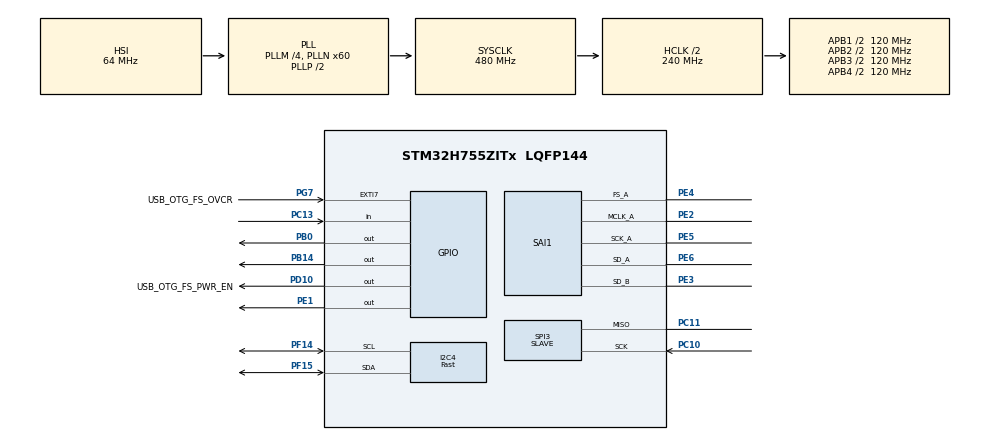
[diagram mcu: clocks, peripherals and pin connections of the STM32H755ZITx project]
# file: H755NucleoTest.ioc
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CortexM4.IPs=FATFS_M4\:I,FREERTOS_M4\:I,IWDG2\:I,RCC,WWDG2\:I,DMA,BDMA,MDMA,NVIC2\:I,ETH,USART3,DEBUG,PDM2PCM_M4\:I,PWR,RESMGR_UTILITY,SYS_M4\:I,USB_DEVICE_M4\:I,USB_HOST_M4\:I,CORTEX_M4\:I,GPIO,OPENAMP_M4\:I,VREFBUF,NUCLEO-H755ZI-Q
CortexM7.IPs=FATFS_M7\:I,FREERTOS_M7\:I,IWDG1\:I,RCC\:I,WWDG1\:I,DMA\:I,BDMA\:I,MDMA\:I,NVIC1\:I,ETH\:I,USART3\:I,USB_OTG_FS\:I,SYS\:I,CORTEX_M7\:I,DEBUG\:I,PDM2PCM_M7\:I,PWR\:I,RESMGR_UTILITY\:I,USB_DEVICE_M7\:I,USB_HOST_M7\:I,GPIO\:I,OPENAMP_M7\:I,VREFBUF\:I,NUCLEO-H755ZI-Q\:I,MEMORYMAP\:I,I2C4\:I,SPI3\:I,SAI1\:I
I2C4.I2C_Speed_Mode=I2C_Fast
I2C4.OwnAddress=32
I2C4.Timing=0x00B03FDB
Mcu.Family=STM32H7
Mcu.Name=STM32H755ZITx
Mcu.Package=LQFP144
NUCLEO-H755ZI-Q.BUTTON=1
NUCLEO-H755ZI-Q.LD1=true
NUCLEO-H755ZI-Q.LD2=true
NUCLEO-H755ZI-Q.LD3=true
NUCLEO-H755ZI-Q.VCP=true
NVIC1.EXTI15_10_IRQn=true\:0\:0\:false\:false\:true\:false\:true\:true
NVIC1.I2C4_ER_IRQn=true\:0\:0\:false\:false\:true\:true\:true\:true
NVIC1.I2C4_EV_IRQn=true\:0\:0\:false\:false\:true\:true\:true\:true
NVIC1.PriorityGroup=NVIC_PRIORITYGROUP_4
NVIC1.SPI3_IRQn=true\:0\:0\:false\:false\:true\:true\:true\:true
NVIC2.PriorityGroup=NVIC_PRIORITYGROUP_4
PA1.PinAttribute=CortexM7
PA1.Signal=ETH_REF_CLK
PA11.PinAttribute=CortexM7
PA11.Signal=USB_OTG_FS_DM
PA12.PinAttribute=CortexM7
PA12.Signal=USB_OTG_FS_DP
PA2.PinAttribute=CortexM7
PA2.Signal=ETH_MDIO
PA7.PinAttribute=CortexM7
PA7.Signal=ETH_CRS_DV
PA8.PinAttribute=CortexM7
PA8.Signal=USB_OTG_FS_SOF
PA9.PinAttribute=CortexM7
PA9.Signal=USB_OTG_FS_VBUS
PB0.Signal=GPIO_Output
PB13.PinAttribute=CortexM7
PB13.Signal=ETH_TXD1
PB14.Signal=GPIO_Output
PB8.PinAttribute=CortexM7
PB8.Signal=I2C1_SCL
PB9.PinAttribute=CortexM7
PB9.Signal=I2C1_SDA
PC1.PinAttribute=CortexM7
PC1.Signal=ETH_MDC
PC10.Mode=Simplex_Bidirectional_Slave
PC10.PinAttribute=CortexM7
PC10.Signal=SPI3_SCK
PC11.Mode=Simplex_Bidirectional_Slave
PC11.PinAttribute=CortexM7
PC11.Signal=SPI3_MISO
PC13.Signal=GPIO_Input
PC14-OSC32_IN\ (OSC32_IN).PinAttribute=Free
PC14-OSC32_IN\ (OSC32_IN).Signal=RCC_OSC32_IN
PC15-OSC32_OUT\ (OSC32_OUT).PinAttribute=Free
PC15-OSC32_OUT\ (OSC32_OUT).Signal=RCC_OSC32_OUT
PC4.PinAttribute=CortexM7
PC4.Signal=ETH_RXD0
PC5.PinAttribute=CortexM7
PC5.Signal=ETH_RXD1
PD10.GPIO_Label=USB_OTG_FS_PWR_EN
PD10.PinAttribute=Free
PD10.Signal=GPIO_Output
PD8.Signal=USART3_TX
PD9.Signal=USART3_RX
PE1.Signal=GPIO_Output
PE2.Mode=SAI_A_MasterWithClock
PE2.PinAttribute=CortexM7
PE2.Signal=SAI1_MCLK_A
PE3.Mode=SAI_B_SyncSlave
PE3.PinAttribute=CortexM7
PE3.Signal=SAI1_SD_B
PE4.Mode=SAI_A_MasterWithClock
PE4.PinAttribute=CortexM7
PE4.Signal=SAI1_FS_A
PE5.Mode=SAI_A_MasterWithClock
PE5.PinAttribute=CortexM7
PE5.Signal=SAI1_SCK_A
PE6.Mode=SAI_A_MasterWithClock
PE6.PinAttribute=CortexM7
PE6.Signal=SAI1_SD_A
PF14.GPIO_Pu=GPIO_PULLUP
PF14.GPIO_Speed=GPIO_SPEED_FREQ_VERY_HIGH
PF14.Mode=I2C
PF14.PinAttribute=CortexM7
PF14.Signal=I2C4_SCL
PF15.GPIO_Pu=GPIO_PULLUP
PF15.GPIO_Speed=GPIO_SPEED_FREQ_VERY_HIGH
PF15.Mode=I2C
PF15.PinAttribute=CortexM7
PF15.Signal=I2C4_SDA
PG11.PinAttribute=CortexM7
PG11.Signal=ETH_TX_EN
PG13.PinAttribute=CortexM7
PG13.Signal=ETH_TXD0
PG7.GPIO_Label=USB_OTG_FS_OVCR
PG7.PinAttribute=Free
PG7.Signal=GPXTI7
PH0-OSC_IN\ (PH0).PinAttribute=Free
PH0-OSC_IN\ (PH0).Signal=RCC_OSC_IN
PH1-OSC_OUT\ (PH1).PinAttribute=Free
PH1-OSC_OUT\ (PH1).Signal=RCC_OSC_OUT
ProjectManager.HeapSize=M4-0x200,M7-0x200
ProjectManager.StackSize=M4-0x400,M7-0x400
ProjectManager.TargetToolchain=STM32CubeIDE
RCC.ADCFreq_Value=12285714.285714285
RCC.APB1Freq_Value=120000000
RCC.APB2Freq_Value=120000000
RCC.APB3Freq_Value=120000000
RCC.APB4Freq_Value=120000000
RCC.CortexFreq_Value=480000000
RCC.D1PPRE=RCC_APB3_DIV2
RCC.D2PPRE1=RCC_APB1_DIV2
RCC.D2PPRE2=RCC_APB2_DIV2
RCC.D3PPRE=RCC_APB4_DIV2
RCC.DIVM1=4
RCC.DIVN1=60
RCC.DIVN3=128
RCC.DIVP2=21
RCC.DIVQ1=8
RCC.DIVR3=8
RCC.HCLKFreq_Value=240000000
RCC.HPRE=RCC_HCLK_DIV2
RCC.I2C123CLockSelection=RCC_I2C123CLKSOURCE_PLL3
RCC.PLL2FRACN=0
RCC.PLL3FRACN=0
RCC.PLLFRACN=0
RCC.SAI1CLockSelection=RCC_SAI1CLKSOURCE_PLL2
RCC.SYSCLKFreq_VALUE=480000000
RCC.SYSCLKSource=RCC_SYSCLKSOURCE_PLLCLK
RCC.SupplySource=PWR_LDO_SUPPLY
RCC.USBFreq_Value=120000000
SAI1.ErrorAudioFreq-SAI_A_MasterWithClock=-75.0 %
SAI1.Instance-SAI_A_MasterWithClock=SAI$Index_Block_A
SAI1.Instance-SAI_B_SyncSlave=SAI$Index_Block_B
SAI1.MClockEnable-SAI_A_MasterWithClock=SAI_MASTERCLOCK_ENABLE
SAI1.RealAudioFreq-SAI_A_MasterWithClock=47.991 KHz
SAI1.VirtualMode-SAI_A_MasterWithClock=VM_MASTER
SAI1.VirtualMode-SAI_B_SyncSlave=VM_SLAVE
SPI3.Direction=SPI_DIRECTION_1LINE
SPI3.Mode=SPI_MODE_SLAVE
SPI3.VirtualType=VM_SLAVE
VP_MEMORYMAP_VS_MEMORYMAP.Mode=CurAppReg
VP_NUCLEO-H755ZI-Q_VS_BSP_COMMON.Mode=COMMON
VP_SYS_M4_VS_Systick.Mode=SysTick
board=NUCLEO-H755ZI-Q

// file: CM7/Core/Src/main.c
/* USER CODE BEGIN Header */
/**
  ******************************************************************************
  * @file           : main.c
  * @brief          : Main program body
  ******************************************************************************
  * @attention
  *
  * Copyright (c) 2025 STMicroelectronics.
  * All rights reserved.
  *
  * This software is licensed under terms that can be found in the LICENSE file
  * in the root directory of this software component.
  * If no LICENSE file comes with this software, it is provided AS-IS.
  *
  ******************************************************************************
  */
/* USER CODE END Header */
#include "main.h"

/* USER CODE BEGIN PD */

#ifndef HSEM_ID_0
#define HSEM_ID_0 (0U) /* HW semaphore 0*/
#endif

/* USER CODE END PD */

COM_InitTypeDef BspCOMInit;

I2C_HandleTypeDef hi2c4;

SAI_HandleTypeDef hsai_BlockA1;
SAI_HandleTypeDef hsai_BlockB1;

SPI_HandleTypeDef hspi3;

/* USER CODE BEGIN PV */
uint8_t rx_buffer[4];
uint8_t RX_Buffer[3];
uint8_t tx_buffer[] = {100, 200, 35, 100};
/* USER CODE END PV */

void SystemClock_Config(void);
void PeriphCommonClock_Config(void);
static void MX_GPIO_Init(void);
static void MX_I2C4_Init(void);
static void MX_SPI3_Init(void);
static void MX_SAI1_Init(void);

/* USER CODE BEGIN 0 */

// I2C event callback
//void HAL_I2C_ListenCpltCallback(I2C_HandleTypeDef *hi2c)
//{
//    HAL_I2C_EnableListen_IT(hi2c);  // Re-enable listening mode
//}
//
//void HAL_I2C_AddrCallback(I2C_HandleTypeDef *hi2c, uint8_t TransferDirection, uint16_t AddrMatchCode)
//{
//    if(TransferDirection == I2C_DIRECTION_TRANSMIT)  // Master is writing to slave
//    {
//        HAL_I2C_Slave_Receive_IT(hi2c, rx_buffer, sizeof(rx_buffer));
//    }
//    else  // Master is reading from slave
//    {
//        HAL_I2C_Slave_Transmit_IT(hi2c, tx_buffer, sizeof(tx_buffer));
//    }
//}
//
//void HAL_I2C_ErrorCallback(I2C_HandleTypeDef *hi2c)
//{
//	HAL_I2C_EnableListen_IT(hi2c);
//}
//
//void HAL_I2C_SlaveTxCpltCallback(I2C_HandleTypeDef *hi2c)
//{
//    HAL_I2C_EnableListen_IT(hi2c);  // Only re-enable listening mode
//}
//
//void HAL_I2C_SlaveRxCpltCallback(I2C_HandleTypeDef *hi2c)
//{
//    HAL_I2C_EnableListen_IT(hi2c);  // Only re-enable listening mode
//}

//void HAL_I2C_SlaveTxCpltCallback(I2C_HandleTypeDef *hi2c)
//{
//    if (hi2c->Instance == I2C4)
//    {
//        HAL_I2C_Slave_Transmit_IT(&hi2c4, tx_buffer, sizeof(tx_buffer)); // Restart transmission
//    }
//
//    HAL_I2C_EnableListen_IT(hi2c);  // Re-enable listening mode
//}
//
//void HAL_I2C_SlaveRxCpltCallback(I2C_HandleTypeDef *hi2c)
//{
//    if (hi2c->Instance == I2C4)
//    {
//        HAL_I2C_Slave_Receive_IT(&hi2c4, tx_buffer, sizeof(tx_buffer)); // Restart transmission
//    }
//
//    HAL_I2C_EnableListen_IT(hi2c);  // Re-enable listening mode
////
////    printf("received\n");
////    uint8_t i;
////
////    for (i = 0; i < 6; ++i) {
////    	printf("%d", rx_buffer[i]);
////    }
////
////    printf("\n");
//
//
//}

void HAL_I2C_ListenCpltCallback(I2C_HandleTypeDef *hi2c)
{
    printf("Listen Complete\n");
    HAL_I2C_EnableListen_IT(hi2c);  // Re-enable listening mode
}

void HAL_I2C_AddrCallback(I2C_HandleTypeDef *hi2c,
                          uint8_t TransferDirection,
                          uint16_t AddrMatchCode)
{
    if (hi2c->Instance == I2C4) // or match your slave address
    {
        if (TransferDirection == I2C_DIRECTION_TRANSMIT)
        {
            // Master is writing data to us
            // Prepare to receive. E.g.:
            HAL_I2C_Slave_Seq_Receive_IT(hi2c, rx_buffer, 4,
                                         I2C_NEXT_FRAME);
        }
        else // I2C_DIRECTION_RECEIVE
        {
            // Master is reading from us
            // Prepare to transmit. E.g.:
            HAL_I2C_Slave_Seq_Transmit_IT(hi2c, tx_buffer, 4,
                                          I2C_NEXT_FRAME);
        }
//    	if(TransferDirection == I2C_DIRECTION_TRANSMIT)  // Master is writing to slave
//    	    {
//    	        HAL_I2C_Slave_Receive_IT(hi2c, rx_buffer, sizeof(rx_buffer));
//    	    }
//    	    else  // Master is reading from slave
//    	    {
//    	        HAL_I2C_Slave_Transmit_IT(hi2c, tx_buffer, sizeof(tx_buffer));
//    	    }
    }
}
void HAL_I2C_SlaveTxCpltCallback(I2C_HandleTypeDef *hi2c)
{
    printf("Tx Complete\n");
    HAL_I2C_EnableListen_IT(hi2c);
}

void HAL_I2C_SlaveRxCpltCallback(I2C_HandleTypeDef *hi2c)
{
    printf("Rx Complete\n");

    for (int i = 0; i < 4; ++i) {
        	printf("%d, ", rx_buffer[i]);
        }

        printf("\n");

    HAL_I2C_EnableListen_IT(hi2c);

}

// Also handle error:
void HAL_I2C_ErrorCallback(I2C_HandleTypeDef *hi2c)
{
//    printf("error\n");
    // Optionally inspect hi2c->ErrorCode for details
	  printf("I2C ErrorCallback: ErrorCode = 0x%lX\r\n", hi2c->ErrorCode);
	// Clear errors or re-init as needed
    HAL_I2C_EnableListen_IT(hi2c);
}
/* USER CODE END 0 */

int main(void)
{

/* USER CODE BEGIN Boot_Mode_Sequence_0 */
  int32_t timeout;
/* USER CODE END Boot_Mode_Sequence_0 */

/* USER CODE BEGIN Boot_Mode_Sequence_1 */
  /* Wait until CPU2 boots and enters in stop mode or timeout*/
//  timeout = 0xFFFF;
//  while((__HAL_RCC_GET_FLAG(RCC_FLAG_D2CKRDY) != RESET) && (timeout-- > 0));
//  if ( timeout < 0 )
//  {
//  Error_Handler();
//  }
/* USER CODE END Boot_Mode_Sequence_1 */
  /* MCU Configuration--------------------------------------------------------*/

  /* Reset of all peripherals, Initializes the Flash interface and the Systick. */
  HAL_Init();

  /* Configure the system clock */
  SystemClock_Config();

  /* Configure the peripherals common clocks */
  PeriphCommonClock_Config();
/* USER CODE BEGIN Boot_Mode_Sequence_2 */
/* When system initialization is finished, Cortex-M7 will release Cortex-M4 by means of
HSEM notification */
/*HW semaphore Clock enable*/
__HAL_RCC_HSEM_CLK_ENABLE();
/*Take HSEM */
HAL_HSEM_FastTake(HSEM_ID_0);
/*Release HSEM in order to notify the CPU2(CM4)*/
HAL_HSEM_Release(HSEM_ID_0,0);
/* wait until CPU2 wakes up from stop mode */
timeout = 0xFFFF;
while((__HAL_RCC_GET_FLAG(RCC_FLAG_D2CKRDY) == RESET) && (timeout-- > 0));
if ( timeout < 0 )
{
Error_Handler();
}
/* USER CODE END Boot_Mode_Sequence_2 */

  /* Initialize all configured peripherals */
  MX_GPIO_Init();
  MX_I2C4_Init();
  MX_SPI3_Init();
  MX_SAI1_Init();
  /* USER CODE BEGIN 2 */
//  HAL_I2C_Slave_Receive_IT(&hi2c4 ,(uint8_t *)RX_Buffer, 1); //Receiving in Interrupt mode
  /* USER CODE END 2 */

  /* Initialize leds */
  BSP_LED_Init(LED_GREEN);
  BSP_LED_Init(LED_YELLOW);
  BSP_LED_Init(LED_RED);

  /* Initialize USER push-button, will be used to trigger an interrupt each time it's pressed.*/
  BSP_PB_Init(BUTTON_USER, BUTTON_MODE_EXTI);

  /* Initialize COM1 port (115200, 8 bits (7-bit data + 1 stop bit), no parity */
  BspCOMInit.BaudRate   = 115200;
  BspCOMInit.WordLength = COM_WORDLENGTH_8B;
  BspCOMInit.StopBits   = COM_STOPBITS_1;
  BspCOMInit.Parity     = COM_PARITY_NONE;
  BspCOMInit.HwFlowCtl  = COM_HWCONTROL_NONE;
  if (BSP_COM_Init(COM1, &BspCOMInit) != BSP_ERROR_NONE)
  {
    Error_Handler();
  }

  /* Infinite loop */
  while (1)
  {

  }
}

void SystemClock_Config(void)
{
  RCC_OscInitTypeDef RCC_OscInitStruct = {0};
  RCC_ClkInitTypeDef RCC_ClkInitStruct = {0};

  /** Supply configuration update enable
  */
  HAL_PWREx_ConfigSupply(PWR_LDO_SUPPLY);

  /** Configure the main internal regulator output voltage
  */
  __HAL_PWR_VOLTAGESCALING_CONFIG(PWR_REGULATOR_VOLTAGE_SCALE0);

  while(!__HAL_PWR_GET_FLAG(PWR_FLAG_VOSRDY)) {}

  /** Initializes the RCC Oscillators according to the specified parameters
  * in the RCC_OscInitTypeDef structure.
  */
  RCC_OscInitStruct.OscillatorType = RCC_OSCILLATORTYPE_HSI;
  RCC_OscInitStruct.HSIState = RCC_HSI_DIV1;
  RCC_OscInitStruct.HSICalibrationValue = RCC_HSICALIBRATION_DEFAULT;
  RCC_OscInitStruct.PLL.PLLState = RCC_PLL_ON;
  RCC_OscInitStruct.PLL.PLLSource = RCC_PLLSOURCE_HSI;
  RCC_OscInitStruct.PLL.PLLM = 4;
  RCC_OscInitStruct.PLL.PLLN = 60;
  RCC_OscInitStruct.PLL.PLLP = 2;
  RCC_OscInitStruct.PLL.PLLQ = 8;
  RCC_OscInitStruct.PLL.PLLR = 2;
  RCC_OscInitStruct.PLL.PLLRGE = RCC_PLL1VCIRANGE_3;
  RCC_OscInitStruct.PLL.PLLVCOSEL = RCC_PLL1VCOWIDE;
  RCC_OscInitStruct.PLL.PLLFRACN = 0;
  if (HAL_RCC_OscConfig(&RCC_OscInitStruct) != HAL_OK)
  {
    Error_Handler();
  }

  /** Initializes the CPU, AHB and APB buses clocks
  */
  RCC_ClkInitStruct.ClockType = RCC_CLOCKTYPE_HCLK|RCC_CLOCKTYPE_SYSCLK
                              |RCC_CLOCKTYPE_PCLK1|RCC_CLOCKTYPE_PCLK2
                              |RCC_CLOCKTYPE_D3PCLK1|RCC_CLOCKTYPE_D1PCLK1;
  RCC_ClkInitStruct.SYSCLKSource = RCC_SYSCLKSOURCE_PLLCLK;
  RCC_ClkInitStruct.SYSCLKDivider = RCC_SYSCLK_DIV1;
  RCC_ClkInitStruct.AHBCLKDivider = RCC_HCLK_DIV2;
  RCC_ClkInitStruct.APB3CLKDivider = RCC_APB3_DIV2;
  RCC_ClkInitStruct.APB1CLKDivider = RCC_APB1_DIV2;
  RCC_ClkInitStruct.APB2CLKDivider = RCC_APB2_DIV2;
  RCC_ClkInitStruct.APB4CLKDivider = RCC_APB4_DIV2;

  if (HAL_RCC_ClockConfig(&RCC_ClkInitStruct, FLASH_LATENCY_4) != HAL_OK)
  {
    Error_Handler();
  }
}

void PeriphCommonClock_Config(void)
{
  RCC_PeriphCLKInitTypeDef PeriphClkInitStruct = {0};

  /** Initializes the peripherals clock
  */
  PeriphClkInitStruct.PeriphClockSelection = RCC_PERIPHCLK_SAI1;
  PeriphClkInitStruct.PLL2.PLL2M = 32;
  PeriphClkInitStruct.PLL2.PLL2N = 129;
  PeriphClkInitStruct.PLL2.PLL2P = 21;
  PeriphClkInitStruct.PLL2.PLL2Q = 2;
  PeriphClkInitStruct.PLL2.PLL2R = 2;
  PeriphClkInitStruct.PLL2.PLL2RGE = RCC_PLL2VCIRANGE_1;
  PeriphClkInitStruct.PLL2.PLL2VCOSEL = RCC_PLL2VCOWIDE;
  PeriphClkInitStruct.PLL2.PLL2FRACN = 0;
  PeriphClkInitStruct.Sai1ClockSelection = RCC_SAI1CLKSOURCE_PLL2;
  if (HAL_RCCEx_PeriphCLKConfig(&PeriphClkInitStruct) != HAL_OK)
  {
    Error_Handler();
  }
}

static void MX_I2C4_Init(void)
{

  hi2c4.Instance = I2C4;
  hi2c4.Init.Timing = 0x00B03FDB;
  hi2c4.Init.OwnAddress1 = 64;
  hi2c4.Init.AddressingMode = I2C_ADDRESSINGMODE_7BIT;
  hi2c4.Init.DualAddressMode = I2C_DUALADDRESS_DISABLE;
  hi2c4.Init.OwnAddress2 = 0;
  hi2c4.Init.OwnAddress2Masks = I2C_OA2_NOMASK;
  hi2c4.Init.GeneralCallMode = I2C_GENERALCALL_DISABLE;
  hi2c4.Init.NoStretchMode = I2C_NOSTRETCH_DISABLE;
  if (HAL_I2C_Init(&hi2c4) != HAL_OK)
  {
    Error_Handler();
  }

  /** Configure Analogue filter
  */
  if (HAL_I2CEx_ConfigAnalogFilter(&hi2c4, I2C_ANALOGFILTER_ENABLE) != HAL_OK)
  {
    Error_Handler();
  }

  /** Configure Digital filter
  */
  if (HAL_I2CEx_ConfigDigitalFilter(&hi2c4, 0) != HAL_OK)
  {
    Error_Handler();
  }

}

static void MX_SAI1_Init(void)
{

  hsai_BlockA1.Instance = SAI1_Block_A;
  hsai_BlockA1.Init.Protocol = SAI_FREE_PROTOCOL;
  hsai_BlockA1.Init.AudioMode = SAI_MODEMASTER_TX;
  hsai_BlockA1.Init.DataSize = SAI_DATASIZE_8;
  hsai_BlockA1.Init.FirstBit = SAI_FIRSTBIT_MSB;
  hsai_BlockA1.Init.ClockStrobing = SAI_CLOCKSTROBING_FALLINGEDGE;
  hsai_BlockA1.Init.Synchro = SAI_ASYNCHRONOUS;
  hsai_BlockA1.Init.OutputDrive = SAI_OUTPUTDRIVE_DISABLE;
  hsai_BlockA1.Init.NoDivider = SAI_MASTERDIVIDER_ENABLE;
  hsai_BlockA1.Init.FIFOThreshold = SAI_FIFOTHRESHOLD_EMPTY;
  hsai_BlockA1.Init.AudioFrequency = SAI_AUDIO_FREQUENCY_192K;
  hsai_BlockA1.Init.SynchroExt = SAI_SYNCEXT_DISABLE;
  hsai_BlockA1.Init.MonoStereoMode = SAI_STEREOMODE;
  hsai_BlockA1.Init.CompandingMode = SAI_NOCOMPANDING;
  hsai_BlockA1.Init.TriState = SAI_OUTPUT_NOTRELEASED;
  hsai_BlockA1.Init.PdmInit.Activation = DISABLE;
  hsai_BlockA1.Init.PdmInit.MicPairsNbr = 1;
  hsai_BlockA1.Init.PdmInit.ClockEnable = SAI_PDM_CLOCK1_ENABLE;
  hsai_BlockA1.FrameInit.FrameLength = 8;
  hsai_BlockA1.FrameInit.ActiveFrameLength = 1;
  hsai_BlockA1.FrameInit.FSDefinition = SAI_FS_STARTFRAME;
  hsai_BlockA1.FrameInit.FSPolarity = SAI_FS_ACTIVE_LOW;
  hsai_BlockA1.FrameInit.FSOffset = SAI_FS_FIRSTBIT;
  hsai_BlockA1.SlotInit.FirstBitOffset = 0;
  hsai_BlockA1.SlotInit.SlotSize = SAI_SLOTSIZE_DATASIZE;
  hsai_BlockA1.SlotInit.SlotNumber = 1;
  hsai_BlockA1.SlotInit.SlotActive = 0x00000000;
  if (HAL_SAI_Init(&hsai_BlockA1) != HAL_OK)
  {
    Error_Handler();
  }
  hsai_BlockB1.Instance = SAI1_Block_B;
  hsai_BlockB1.Init.Protocol = SAI_FREE_PROTOCOL;
  hsai_BlockB1.Init.AudioMode = SAI_MODESLAVE_RX;
  hsai_BlockB1.Init.DataSize = SAI_DATASIZE_8;
  hsai_BlockB1.Init.FirstBit = SAI_FIRSTBIT_MSB;
  hsai_BlockB1.Init.ClockStrobing = SAI_CLOCKSTROBING_FALLINGEDGE;
  hsai_BlockB1.Init.Synchro = SAI_SYNCHRONOUS;
  hsai_BlockB1.Init.OutputDrive = SAI_OUTPUTDRIVE_DISABLE;
  hsai_BlockB1.Init.FIFOThreshold = SAI_FIFOTHRESHOLD_EMPTY;
  hsai_BlockB1.Init.SynchroExt = SAI_SYNCEXT_DISABLE;
  hsai_BlockB1.Init.MonoStereoMode = SAI_STEREOMODE;
  hsai_BlockB1.Init.CompandingMode = SAI_NOCOMPANDING;
  hsai_BlockB1.Init.TriState = SAI_OUTPUT_NOTRELEASED;
  hsai_BlockB1.Init.PdmInit.Activation = DISABLE;
  hsai_BlockB1.Init.PdmInit.MicPairsNbr = 1;
  hsai_BlockB1.Init.PdmInit.ClockEnable = SAI_PDM_CLOCK1_ENABLE;
  hsai_BlockB1.FrameInit.FrameLength = 8;
  hsai_BlockB1.FrameInit.ActiveFrameLength = 1;
  hsai_BlockB1.FrameInit.FSDefinition = SAI_FS_STARTFRAME;
  hsai_BlockB1.FrameInit.FSPolarity = SAI_FS_ACTIVE_LOW;
  hsai_BlockB1.FrameInit.FSOffset = SAI_FS_FIRSTBIT;
  hsai_BlockB1.SlotInit.FirstBitOffset = 0;
  hsai_BlockB1.SlotInit.SlotSize = SAI_SLOTSIZE_DATASIZE;
  hsai_BlockB1.SlotInit.SlotNumber = 1;
  hsai_BlockB1.SlotInit.SlotActive = 0x00000000;
  if (HAL_SAI_Init(&hsai_BlockB1) != HAL_OK)
  {
    Error_Handler();
  }

}

static void MX_SPI3_Init(void)
{

  /* SPI3 parameter configuration*/
  hspi3.Instance = SPI3;
  hspi3.Init.Mode = SPI_MODE_SLAVE;
  hspi3.Init.Direction = SPI_DIRECTION_1LINE;
  hspi3.Init.DataSize = SPI_DATASIZE_4BIT;
  hspi3.Init.CLKPolarity = SPI_POLARITY_LOW;
  hspi3.Init.CLKPhase = SPI_PHASE_1EDGE;
  hspi3.Init.NSS = SPI_NSS_SOFT;
  hspi3.Init.FirstBit = SPI_FIRSTBIT_MSB;
  hspi3.Init.TIMode = SPI_TIMODE_DISABLE;
  hspi3.Init.CRCCalculation = SPI_CRCCALCULATION_DISABLE;
  hspi3.Init.CRCPolynomial = 0x0;
  hspi3.Init.NSSPMode = SPI_NSS_PULSE_DISABLE;
  hspi3.Init.NSSPolarity = SPI_NSS_POLARITY_LOW;
  hspi3.Init.FifoThreshold = SPI_FIFO_THRESHOLD_01DATA;
  hspi3.Init.TxCRCInitializationPattern = SPI_CRC_INITIALIZATION_ALL_ZERO_PATTERN;
  hspi3.Init.RxCRCInitializationPattern = SPI_CRC_INITIALIZATION_ALL_ZERO_PATTERN;
  hspi3.Init.MasterSSIdleness = SPI_MASTER_SS_IDLENESS_00CYCLE;
  hspi3.Init.MasterInterDataIdleness = SPI_MASTER_INTERDATA_IDLENESS_00CYCLE;
  hspi3.Init.MasterReceiverAutoSusp = SPI_MASTER_RX_AUTOSUSP_DISABLE;
  hspi3.Init.MasterKeepIOState = SPI_MASTER_KEEP_IO_STATE_DISABLE;
  hspi3.Init.IOSwap = SPI_IO_SWAP_DISABLE;
  if (HAL_SPI_Init(&hspi3) != HAL_OK)
  {
    Error_Handler();
  }

}

static void MX_GPIO_Init(void)
{
  GPIO_InitTypeDef GPIO_InitStruct = {0};

  /* GPIO Ports Clock Enable */
  __HAL_RCC_GPIOE_CLK_ENABLE();
  __HAL_RCC_GPIOC_CLK_ENABLE();
  __HAL_RCC_GPIOA_CLK_ENABLE();
  __HAL_RCC_GPIOF_CLK_ENABLE();
  __HAL_RCC_GPIOB_CLK_ENABLE();
  __HAL_RCC_GPIOG_CLK_ENABLE();

  /*Configure GPIO pins : PC1 PC4 PC5 */
  GPIO_InitStruct.Pin = GPIO_PIN_1|GPIO_PIN_4|GPIO_PIN_5;
  GPIO_InitStruct.Mode = GPIO_MODE_AF_PP;
  GPIO_InitStruct.Pull = GPIO_NOPULL;
  GPIO_InitStruct.Speed = GPIO_SPEED_FREQ_LOW;
  GPIO_InitStruct.Alternate = GPIO_AF11_ETH;
  HAL_GPIO_Init(GPIOC, &GPIO_InitStruct);

  /*Configure GPIO pins : PA1 PA2 PA7 */
  GPIO_InitStruct.Pin = GPIO_PIN_1|GPIO_PIN_2|GPIO_PIN_7;
  GPIO_InitStruct.Mode = GPIO_MODE_AF_PP;
  GPIO_InitStruct.Pull = GPIO_NOPULL;
  GPIO_InitStruct.Speed = GPIO_SPEED_FREQ_LOW;
  GPIO_InitStruct.Alternate = GPIO_AF11_ETH;
  HAL_GPIO_Init(GPIOA, &GPIO_InitStruct);

  /*Configure GPIO pin : PB13 */
  GPIO_InitStruct.Pin = GPIO_PIN_13;
  GPIO_InitStruct.Mode = GPIO_MODE_AF_PP;
  GPIO_InitStruct.Pull = GPIO_NOPULL;
  GPIO_InitStruct.Speed = GPIO_SPEED_FREQ_LOW;
  GPIO_InitStruct.Alternate = GPIO_AF11_ETH;
  HAL_GPIO_Init(GPIOB, &GPIO_InitStruct);

  /*Configure GPIO pins : PA8 PA11 PA12 */
  GPIO_InitStruct.Pin = GPIO_PIN_8|GPIO_PIN_11|GPIO_PIN_12;
  GPIO_InitStruct.Mode = GPIO_MODE_AF_PP;
  GPIO_InitStruct.Pull = GPIO_NOPULL;
  GPIO_InitStruct.Speed = GPIO_SPEED_FREQ_LOW;
  GPIO_InitStruct.Alternate = GPIO_AF10_OTG1_FS;
  HAL_GPIO_Init(GPIOA, &GPIO_InitStruct);

  /*Configure GPIO pins : PG11 PG13 */
  GPIO_InitStruct.Pin = GPIO_PIN_11|GPIO_PIN_13;
  GPIO_InitStruct.Mode = GPIO_MODE_AF_PP;
  GPIO_InitStruct.Pull = GPIO_NOPULL;
  GPIO_InitStruct.Speed = GPIO_SPEED_FREQ_LOW;
  GPIO_InitStruct.Alternate = GPIO_AF11_ETH;
  HAL_GPIO_Init(GPIOG, &GPIO_InitStruct);

  /*Configure GPIO pins : PB8 PB9 */
  GPIO_InitStruct.Pin = GPIO_PIN_8|GPIO_PIN_9;
  GPIO_InitStruct.Mode = GPIO_MODE_AF_OD;
  GPIO_InitStruct.Pull = GPIO_NOPULL;
  GPIO_InitStruct.Speed = GPIO_SPEED_FREQ_LOW;
  GPIO_InitStruct.Alternate = GPIO_AF4_I2C1;
  HAL_GPIO_Init(GPIOB, &GPIO_InitStruct);

}

void Error_Handler(void)
{
  __disable_irq();
  while (1)
  {
  }
}
